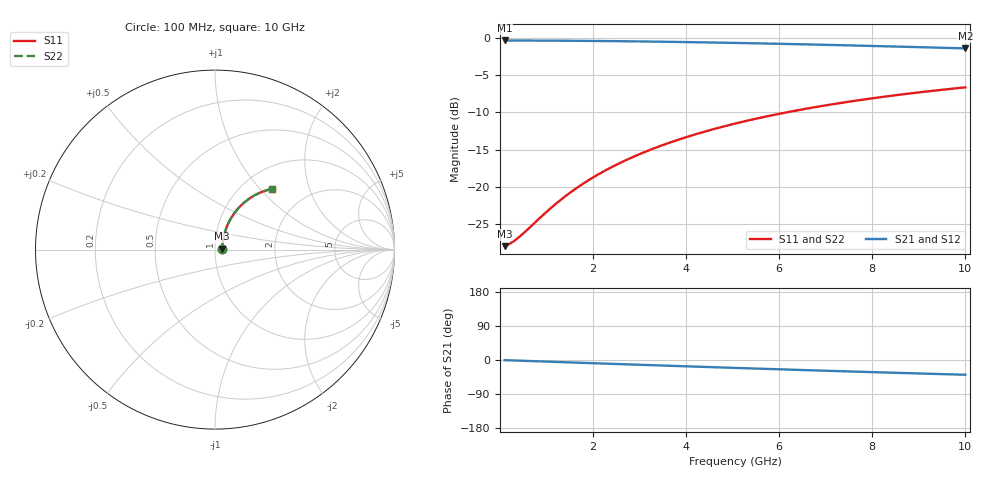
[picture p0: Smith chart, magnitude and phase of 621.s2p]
# Hz S RI R 50.00
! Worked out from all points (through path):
!   100 points, 100 MHz to 10 GHz, reference 50 ohm
!   highest |S21| = -0.35 dB at 100 MHz (marker M1); lowest = -1.4 dB at 10 GHz (marker M2)
!   group delay of S21, straight-line fit = 10.9 ps
!   lowest |S11| = -27.9 dB at 100 MHz (marker M3), VSWR 1.08, Z = 54.1 + j0.561 ohm
!   |S11| at or under -10 dB: start of sweep to 6.155 GHz
!   |S22| runs from -27.9 to -6.6 dB; largest |S21 - S12| = 0
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1e8  0.0398 0.00517  0.9602 -0.00709  0.9602 -0.00709  0.0398 0.00517
2e8  0.0401 0.0103  0.9599 -0.0142  0.9599 -0.0142  0.0401 0.0103
3e8  0.0405 0.0155  0.9595 -0.0213  0.9595 -0.0213  0.0405 0.0155
4e8  0.0409 0.0206  0.959 -0.0283  0.959 -0.0283  0.0409 0.0206
1e9  0.0447 0.0513  0.9551 -0.0705  0.9551 -0.0705  0.0447 0.0513
1.2e9  0.0465 0.0614  0.9532 -0.0845  0.9532 -0.0845  0.0465 0.0614
1.5e9  0.0497 0.0765  0.9498 -0.1053  0.9498 -0.1053  0.0497 0.0765
1.8e9  0.0536 0.0913  0.9458 -0.1259  0.9458 -0.1259  0.0536 0.0913
2.1e9  0.0581 0.1059  0.941 -0.1463  0.941 -0.1463  0.0581 0.1059
2.5e9  0.065 0.125  0.9338 -0.1731  0.9338 -0.1731  0.065 0.125
2.9e9  0.0729 0.1435  0.9254 -0.1994  0.9254 -0.1994  0.0729 0.1435
3.4e9  0.0843 0.1658  0.9135 -0.2314  0.9135 -0.2314  0.0843 0.1658
3.8e9  0.0944 0.1829  0.9028 -0.2562  0.9028 -0.2562  0.0944 0.1829
4.2e9  0.1053 0.1993  0.8913 -0.2803  0.8913 -0.2803  0.1053 0.1993
4.6e9  0.1171 0.2148  0.8788 -0.3036  0.8788 -0.3036  0.1171 0.2148
5.1e9  0.1328 0.2331  0.8622 -0.3316  0.8622 -0.3316  0.1328 0.2331
5.9e9  0.1599 0.2596  0.8333 -0.3737  0.8333 -0.3737  0.1599 0.2596
6.7e9  0.1891 0.2825  0.8022 -0.4122  0.8022 -0.4122  0.1891 0.2825
7.5e9  0.2197 0.3016  0.7694 -0.4471  0.7694 -0.4471  0.2197 0.3016
8.4e9  0.2553 0.3188  0.731 -0.4821  0.731 -0.4821  0.2553 0.3188
9.2e9  0.2873 0.3303  0.6961 -0.5095  0.6961 -0.5095  0.2873 0.3303
1e10  0.3194 0.3385  0.6609 -0.5336  0.6609 -0.5336  0.3194 0.3385
